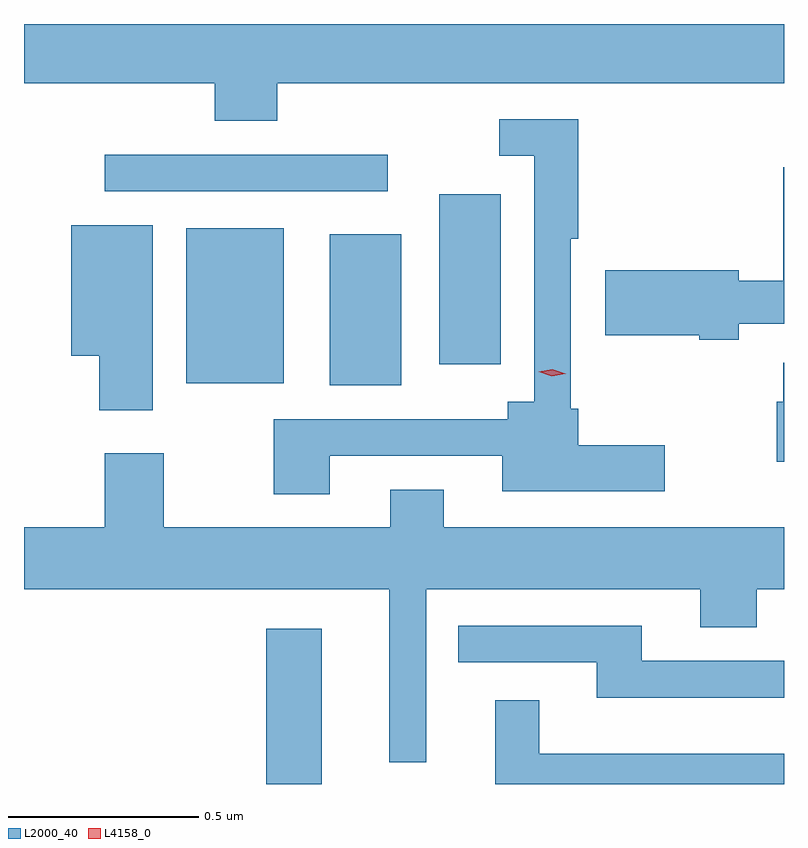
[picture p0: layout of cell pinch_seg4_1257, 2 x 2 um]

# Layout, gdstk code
import gdstk
lib = gdstk.Library(unit=1e-6, precision=1e-09)
def R(c, l, rs):  # rectangles x0, y0, x1, y1
    for r in rs: c.add(gdstk.rectangle(r[:2], r[2:], *l))
def P(c, l, *ps):  # polygons
    for p in ps: c.add(gdstk.Polygon(p, *l))
L2000_40 = (2000, 40)
L4158_0 = (4158, 0)

pinch_seg4_1257 = lib.new_cell('pinch_seg4_1257')
R(pinch_seg4_1257, L2000_40, [(321.86,817.62,322.006,818.029), (322.028,818.669,322.216,819.067), (321.65,818.675,321.907,819.082), (322.316,818.724,322.477,819.172), (321.435,819.18,322.18,819.276)])
P(pinch_seg4_1257, L2000_40, [(321.89,819.464),(323.223,819.464),(323.223,819.62),(321.223,819.62),(321.223,819.464),(321.725,819.464),(321.725,819.365),(321.89,819.365)],
  [(322.027,818.484),(322.481,818.484),(322.481,818.39),(322.909,818.39),(322.909,818.512),(322.682,818.512),(322.682,818.608),(322.662,818.608),(322.662,819.055),(322.682,819.055),(322.682,819.369),(322.473,819.369),(322.473,819.273),(322.566,819.273),(322.566,818.626),(322.496,818.626),(322.496,818.58),(321.88,818.58),(321.88,818.382),(322.027,818.382)],
  [(323.104,818.831),(323.223,818.831),(323.223,819.243),(323.221,819.243),(323.221,818.944),(323.104,818.944),(323.104,818.972),(322.752,818.972),(322.752,818.801),(323,818.801),(323,818.789),(323.104,818.789)],
  [(321.562,819.091),(321.347,819.091),(321.347,818.747),(321.421,818.747),(321.421,818.604),(321.562,818.604)],
  [(323.223,818.729),(323.221,818.729),(323.221,818.626),(323.204,818.626),(323.204,818.468),(323.223,818.468)],
  [(322.281,818.132),(323.003,818.132),(323.003,818.033),(323.151,818.033),(323.151,818.132),(323.223,818.132),(323.223,818.296),(322.327,818.296),(322.327,818.395),(322.187,818.395),(322.187,818.296),(321.591,818.296),(321.591,818.491),(321.436,818.491),(321.436,818.296),(321.223,818.296),(321.223,818.132),(322.184,818.132),(322.184,817.677),(322.281,817.677)],
  [(323.223,817.944),(322.849,817.944),(322.849,818.037),(322.366,818.037),(322.366,817.941),(322.73,817.941),(322.73,817.847),(323.223,817.847)],
  [(323.223,817.699),(322.579,817.699),(322.579,817.84),(322.463,817.84),(322.463,817.62),(323.223,817.62)])
P(pinch_seg4_1257, L4158_0, [(322.612,818.693),(322.577,818.705),(322.576,818.705),(322.577,818.705),(322.613,818.712),(322.648,818.7),(322.648,818.7),(322.648,818.7)])

lib.write_gds('pinch_seg4_1257.gds')
